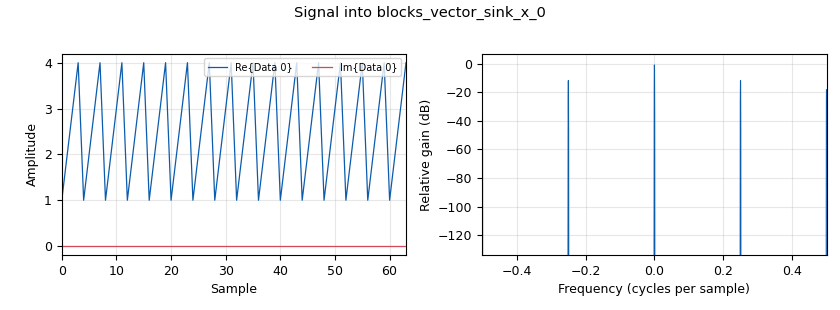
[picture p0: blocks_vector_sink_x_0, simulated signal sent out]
options:
  parameters:
    author: grigosback
    generate_options: no_gui
    id: vector_noise_source_test
    output_language: python
    title: Vector Noise Source Test
  states: {}

blocks:
- name: samp_rate
  id: variable
  parameters:
    value: '1024'
  states: {}
- name: analog_vectornoise_source_0
  id: analog_vectornoise_source
  parameters:
    ampl: '2'
    vlen: '4'
  states: {state: disabled}
- name: blocks_throttle_0
  id: blocks_throttle
  parameters:
    samples_per_second: samp_rate
    type: complex
    vlen: '4'
  states: {}
- name: blocks_vector_sink_x_0
  id: blocks_vector_sink_x
  parameters:
    reserve_items: '12'
    type: complex
    vlen: '4'
  states: {}
- name: blocks_vector_source_x_0
  id: blocks_vector_source_x
  parameters:
    repeat: 'True'
    type: complex
    vector: (1, 2, 3,4)
    vlen: '4'
  states: {}

connections:
- [analog_vectornoise_source_0, '0', blocks_throttle_0, '0']
- [blocks_throttle_0, '0', blocks_vector_sink_x_0, '0']
- [blocks_vector_source_x_0, '0', blocks_throttle_0, '0']

metadata:
  file_format: 1
